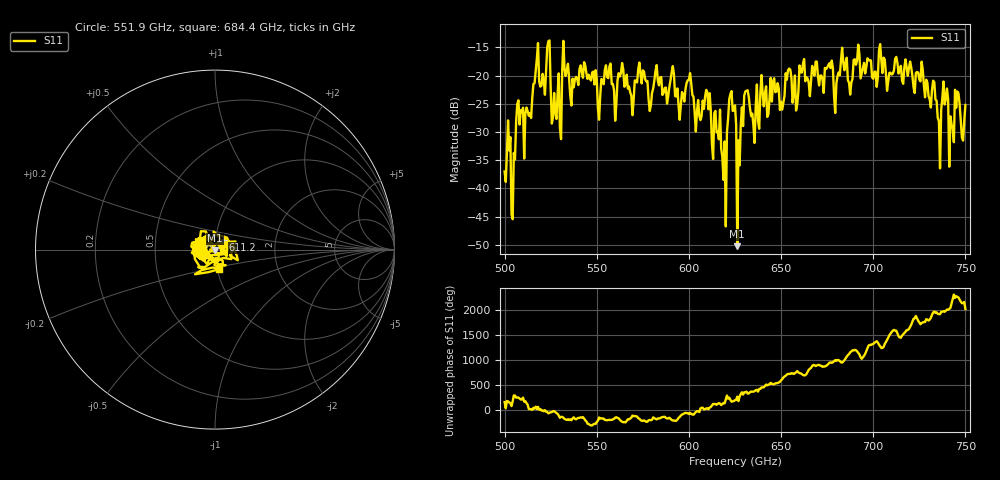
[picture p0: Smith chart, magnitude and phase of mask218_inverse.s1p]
!Created with skrf (http://scikit-rf.org).
# GHz S MA R 50.0
!freq magS11 angS11
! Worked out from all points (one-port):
!   401 points, 500 GHz to 750 GHz, reference 50 ohm
!   lowest |S11| = -50.2 dB at 626.2 GHz (marker M1), VSWR 1.01, Z = 50 - j0.308 ohm
!   |S11| at or under -10 dB: start of sweep to end of sweep
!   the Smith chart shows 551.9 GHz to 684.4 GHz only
!   S11 on the Smith chart (normalised r, x): 551.9 GHz: 0.88, -0.02; 611.2 GHz: 1.09, +0.12; 684.4 GHz: 1.02, -0.23
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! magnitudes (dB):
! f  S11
! 500 GHz  -37.0
! 505 GHz  -33.7
! 507.5 GHz  -24.4
! 511.9 GHz  -25.7
! 516.9 GHz  -19.2
! 523.8 GHz  -13.9
! 526.9 GHz  -23.1
! 531.2 GHz  -19.2
! 533.1 GHz  -20.1
! 551.9 GHz  -23.6
! 562.5 GHz  -20.2
! 593.8 GHz  -22.3
! 611.2 GHz  -23.1
! 618.8 GHz  -38.5
! 622.5 GHz  -23.3
! 625 GHz  -25.3
! 626.2 GHz  -50.2
! 631.2 GHz  -22.7
! 634.4 GHz  -26.7
! 656.2 GHz  -24.8
! 684.4 GHz  -19.1
! 687.5 GHz  -23.4
! 718.8 GHz  -20.0
! 735.6 GHz  -28.1
! 739.4 GHz  -24.2
! 742.5 GHz  -28.6
! 745.6 GHz  -22.8
! 750 GHz  -25.2
